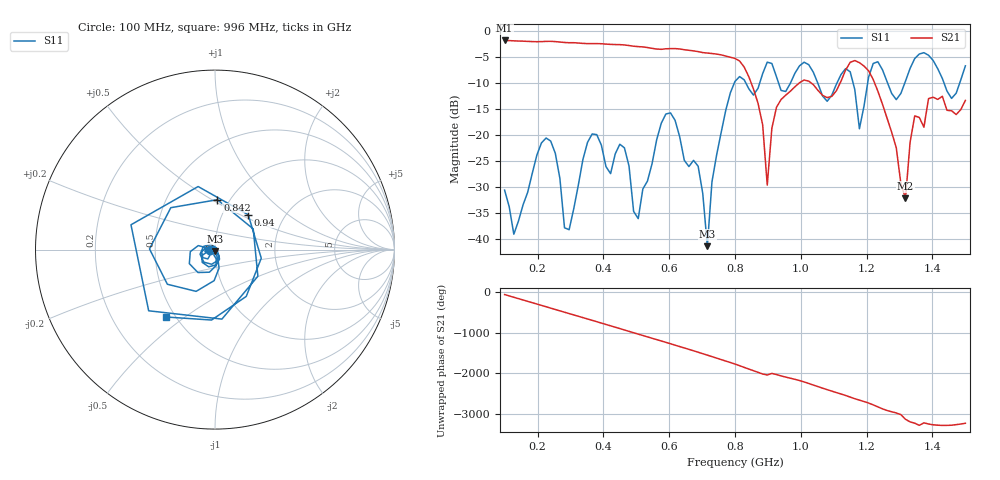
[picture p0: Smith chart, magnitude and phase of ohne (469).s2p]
! NanoVNA-App
! Date: 2025-09-25 14:24:27
! Start: 100MHz Stop: 1,5GHz Points: 101
! S-Parameter data: F S11 S21 S12 S22
# Hz S RI R 50
!  Frequency  S11_Real  S11_Imag  S21_Real  S21_Imag  S12_Real  S12_Imag  S22_Real  S22_Imag
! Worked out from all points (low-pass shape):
!   101 points, 100 MHz to 1.5 GHz, reference 50 ohm
!   highest |S21| = -1.79 dB at 100 MHz (marker M1); lowest = -32.2 dB at 1.318 GHz (marker M2)
!   |S21| within 3 dB of the highest: start of sweep to 771.3 MHz
!   lowest |S11| = -41.4 dB at 716 MHz (marker M3), VSWR 1.02, Z = 49.8 - j0.832 ohm
!   |S11| at or under -10 dB: start of sweep to 797.9 MHz; 833 MHz to 875 MHz (42.06 MHz wide, 4.92 % of centre); 1.051 GHz to 1.11 GHz (58.35 MHz wide, 5.4 % of centre) (the widest 3 of 7)
!   S12 and S22 are empty: the file has one direction only
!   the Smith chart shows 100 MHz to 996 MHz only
!   S11 on the Smith chart (normalised r, x): 100 MHz: 0.94, -0.01; 842 MHz: 0.88, +0.53; 940 MHz: 1.32, +0.55; 996 MHz: 0.45, -0.43
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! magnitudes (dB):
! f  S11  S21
! 100 MHz  -30.6  -1.8
! 128 MHz  -39.1  -1.9
! 226 MHz  -20.6  -2.0
! 296 MHz  -38.3  -2.2
! 338 MHz  -24.7  -2.4
! 464 MHz  -22.5  -2.7
! 506 MHz  -36.1  -3.0
! 576 MHz  -17.7  -3.5
! 688 MHz  -26.0  -3.9
! 716 MHz  -41.4  -4.2
! 800 MHz  -9.7  -5.3
! 842 MHz  -11.1  -8.8
! 898 MHz  -6.0  -29.7
! 940 MHz  -11.4  -13.2
! 996 MHz  -6.7  -9.9
! 1.038 GHz  -7.9  -10.3
! 1.178 GHz  -18.8  -6.1
! 1.22 GHz  -6.2  -9.3
! 1.276 GHz  -12.0  -19.5
! 1.318 GHz  -9.6  -32.2
! 1.346 GHz  -5.3  -16.3
! 1.5 GHz  -6.7  -13.4
